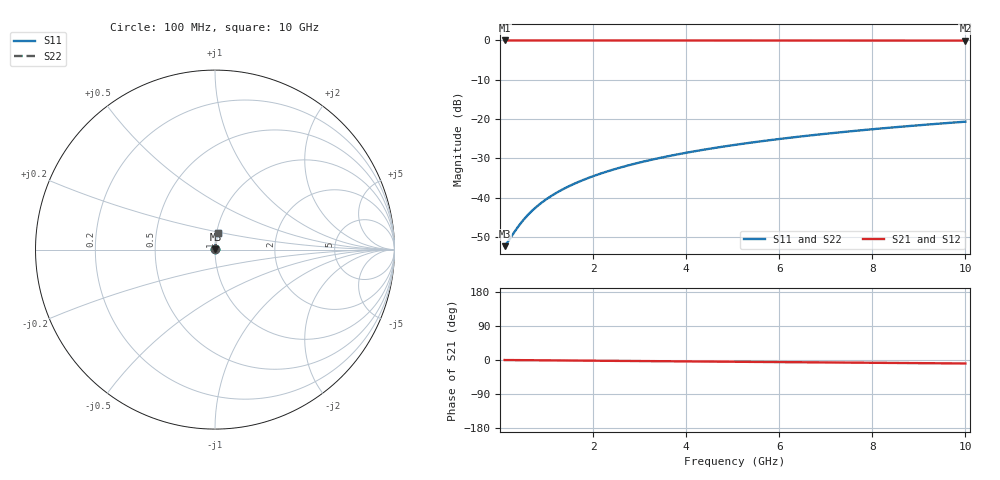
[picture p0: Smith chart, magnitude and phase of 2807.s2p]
# Hz S RI R 50.00
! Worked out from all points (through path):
!   100 points, 100 MHz to 10 GHz, reference 50 ohm
!   highest |S21| = -0.02 dB at 100 MHz (marker M1); lowest = -0.1 dB at 10 GHz (marker M2)
!   group delay of S21, straight-line fit = 2.55 ps
!   lowest |S11| = -52.4 dB at 100 MHz (marker M3), VSWR 1.00, Z = 50.2 + j0.0927 ohm
!   |S11| at or under -10 dB: start of sweep to end of sweep
!   |S22| runs from -52.4 to -20.7 dB; largest |S21 - S12| = 0
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1e8  0.00222 0.000923  0.9978 -0.0016  0.9978 -0.0016  0.00222 0.000923
2e8  0.00224 0.00185  0.9978 -0.00319  0.9978 -0.00319  0.00224 0.00185
3e8  0.00226 0.00277  0.9977 -0.00479  0.9977 -0.00479  0.00226 0.00277
4e8  0.00228 0.00369  0.9977 -0.00639  0.9977 -0.00639  0.00228 0.00369
5e8  0.0023 0.00462  0.9977 -0.00799  0.9977 -0.00799  0.0023 0.00462
6e8  0.00232 0.00554  0.9977 -0.00958  0.9977 -0.00958  0.00232 0.00554
7e8  0.00234 0.00646  0.9976 -0.0112  0.9976 -0.0112  0.00234 0.00646
8e8  0.00237 0.00739  0.9976 -0.0128  0.9976 -0.0128  0.00237 0.00739
1e9  0.00243 0.00923  0.9975 -0.016  0.9975 -0.016  0.00243 0.00923
1.2e9  0.00251 0.0111  0.9975 -0.0192  0.9975 -0.0192  0.00251 0.0111
1.5e9  0.00264 0.0138  0.9973 -0.024  0.9973 -0.024  0.00264 0.0138
1.8e9  0.00279 0.0166  0.9971 -0.0287  0.9971 -0.0287  0.00279 0.0166
2.1e9  0.00298 0.0194  0.9969 -0.0335  0.9969 -0.0335  0.00298 0.0194
2.5e9  0.00326 0.0231  0.9966 -0.0399  0.9966 -0.0399  0.00326 0.0231
2.9e9  0.00359 0.0267  0.9962 -0.0463  0.9962 -0.0463  0.00359 0.0267
3.4e9  0.00406 0.0313  0.9957 -0.0542  0.9957 -0.0542  0.00406 0.0313
4.2e9  0.00498 0.0386  0.9946 -0.067  0.9946 -0.067  0.00498 0.0386
5.1e9  0.00623 0.0469  0.9931 -0.0813  0.9931 -0.0813  0.00623 0.0469
5.9e9  0.00754 0.0541  0.9916 -0.094  0.9916 -0.094  0.00754 0.0541
6.7e9  0.00903 0.0614  0.9899 -0.1066  0.9899 -0.1066  0.00903 0.0614
8.4e9  0.0128 0.0766  0.9855 -0.1334  0.9855 -0.1334  0.0128 0.0766
1e10  0.0171 0.0907  0.9805 -0.1583  0.9805 -0.1583  0.0171 0.0907
